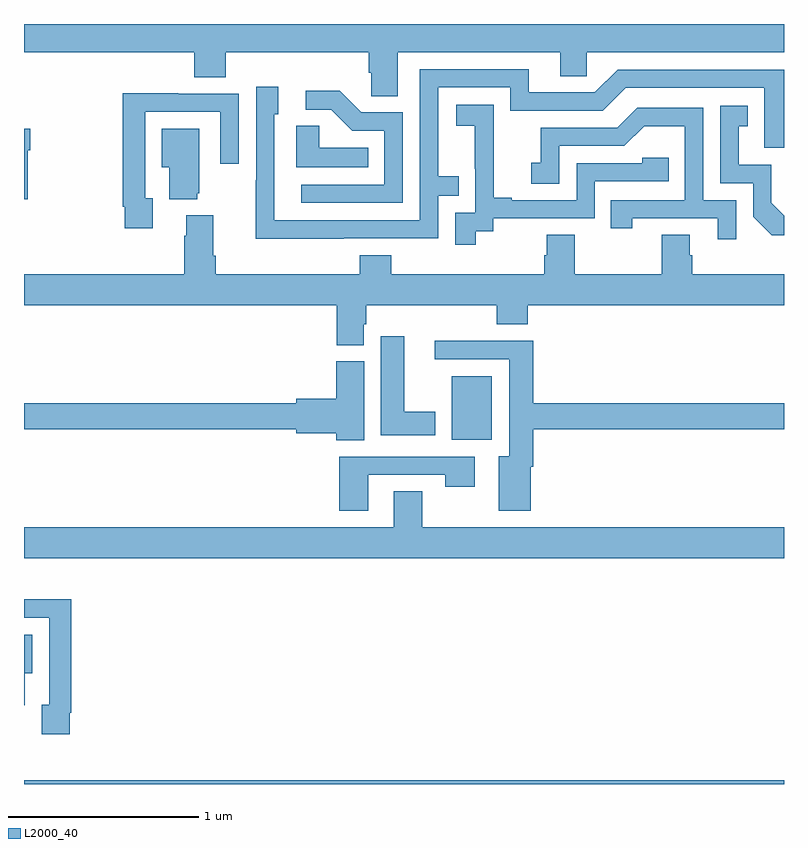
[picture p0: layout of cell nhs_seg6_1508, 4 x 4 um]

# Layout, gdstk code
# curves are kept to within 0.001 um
import gdstk
lib = gdstk.Library(unit=1e-6, precision=1e-09)
def R(c, l, rs):  # rectangles x0, y0, x1, y1
    for r in rs: c.add(gdstk.rectangle(r[:2], r[2:], *l))
def P(c, l, *ps):  # polygons
    for p in ps: c.add(gdstk.Polygon(p, *l))
L2000_40 = (2000, 40)

nhs_seg6_1508 = lib.new_cell('nhs_seg6_1508')
R(nhs_seg6_1508, L2000_40, [(203,927.5,207,927.52), (205.25,929.312,205.462,929.647)])
P(nhs_seg6_1508, L2000_40, [(204.967,931.352),(205.823,931.352),(205.823,931.225),(205.962,931.225),(205.962,931.352),(207,931.352),(207,931.5),(203,931.5),(203,931.352),(203.897,931.352),(203.897,931.219),(204.062,931.219),(204.062,931.352),(204.815,931.352),(204.815,931.243),(204.828,931.243),(204.828,931.12),(204.967,931.12)],
  [(204.683,930.372),(205.179,930.372),(205.179,930.597),(205.289,930.597),(205.289,930.698),(205.179,930.698),(205.179,931.167),(205.56,931.167),(205.56,931.044),(206.046,931.044),(206.166,931.164),(206.895,931.164),(206.895,930.849),(207,930.849),(207,931.26),(206.124,931.26),(206.004,931.14),(205.657,931.14),(205.657,931.263),(205.083,931.263),(205.083,930.468),(204.318,930.468),(204.318,931.026),(204.337,931.026),(204.337,931.171),(204.222,931.171),(204.222,930.677),(204.22,930.677),(204.22,930.371)],
  [(204.993,931.035),(204.774,931.035),(204.661,931.148),(204.483,931.148),(204.483,931.05),(204.617,931.05),(204.728,930.939),(204.897,930.939),(204.897,930.654),(204.459,930.654),(204.459,930.558),(204.993,930.558)],
  [(203.677,930.582),(203.637,930.582),(203.637,931.038),(204.033,931.038),(204.033,930.765),(204.129,930.765),(204.129,931.134),(203.813,931.134),(203.813,931.136),(203.521,931.136),(203.521,930.538),(203.529,930.538),(203.529,930.426),(203.677,930.426)],
  [(205.378,930.409),(205.47,930.409),(205.47,930.477),(206.004,930.477),(206.004,930.672),(206.393,930.672),(206.393,930.795),(206.253,930.795),(206.253,930.768),(205.908,930.768),(205.908,930.573),(205.567,930.573),(205.567,930.586),(205.472,930.586),(205.472,930.869),(205.473,930.869),(205.473,931.075),(205.275,931.075),(205.275,930.965),(205.373,930.965),(205.373,930.737),(205.374,930.737),(205.374,930.507),(205.269,930.507),(205.269,930.339),(205.378,930.339)],
  [(207,930.492),(206.934,930.558),(206.934,930.759),(206.761,930.759),(206.761,930.963),(206.81,930.963),(206.81,931.069),(206.664,931.069),(206.664,930.663),(206.838,930.663),(206.838,930.486),(206.936,930.389),(207,930.389)],
  [(206.748,930.573),(206.574,930.573),(206.574,931.059),(206.228,931.059),(206.123,930.954),(205.72,930.954),(205.72,930.769),(205.671,930.769),(205.671,930.66),(205.818,930.66),(205.818,930.858),(206.16,930.858),(206.264,930.962),(206.478,930.962),(206.478,930.573),(206.089,930.573),(206.089,930.426),(206.2,930.426),(206.2,930.477),(206.651,930.477),(206.651,930.366),(206.748,930.366)],
  [(204.812,930.85),(204.555,930.85),(204.555,930.965),(204.434,930.965),(204.434,930.746),(204.812,930.746)],
  [(203.912,930.609),(203.923,930.609),(203.923,930.949),(203.726,930.949),(203.726,930.746),(203.765,930.746),(203.765,930.578),(203.912,930.578)],
  [(203.02,930.836),(203.033,930.836),(203.033,930.949),(203,930.949),(203,930.578),(203.02,930.578)],
  [(204.787,929.919),(204.8,929.919),(204.8,930.02),(205.487,930.02),(205.487,929.921),(205.652,929.921),(205.652,930.02),(207,930.02),(207,930.184),(206.516,930.184),(206.516,930.282),(206.503,930.282),(206.503,930.392),(206.356,930.392),(206.356,930.184),(205.899,930.184),(205.899,930.392),(205.751,930.392),(205.751,930.282),(205.739,930.282),(205.739,930.184),(204.932,930.184),(204.932,930.283),(204.767,930.283),(204.767,930.184),(204.008,930.184),(204.008,930.28),(203.995,930.28),(203.995,930.493),(203.855,930.493),(203.855,930.386),(203.843,930.386),(203.843,930.184),(203,930.184),(203,930.02),(204.647,930.02),(204.647,929.809),(204.787,929.809)],
  [(205.165,929.458),(205,929.458),(205,929.857),(204.878,929.857),(204.878,929.336),(205.165,929.336)],
  [(205.666,929.171),(205.679,929.171),(205.679,929.368),(207,929.368),(207,929.504),(205.679,929.504),(205.679,929.834),(205.161,929.834),(205.161,929.736),(205.553,929.736),(205.553,929.224),(205.499,929.224),(205.499,928.938),(205.666,928.938)],
  [(204.79,929.724),(204.644,929.724),(204.644,929.528),(204.434,929.528),(204.434,929.504),(203,929.504),(203,929.368),(204.434,929.368),(204.434,929.345),(204.644,929.345),(204.644,929.308),(204.79,929.308)],
  [(204.811,929.127),(205.216,929.127),(205.216,929.064),(205.372,929.064),(205.372,929.223),(204.659,929.223),(204.659,928.938),(204.811,928.938)],
  [(207,928.852),(205.095,928.852),(205.095,929.042),(204.947,929.042),(204.947,928.852),(203,928.852),(203,928.688),(207,928.688)],
  [(203.242,927.874),(203.249,927.874),(203.249,928.472),(203,928.472),(203,928.374),(203.133,928.374),(203.133,927.918),(203.093,927.918),(203.093,927.762),(203.242,927.762)],
  [(203.005,928.082),(203.044,928.082),(203.044,928.285),(203,928.285),(203,927.914),(203.005,927.914)])

lib.write_gds('nhs_seg6_1508.gds')
